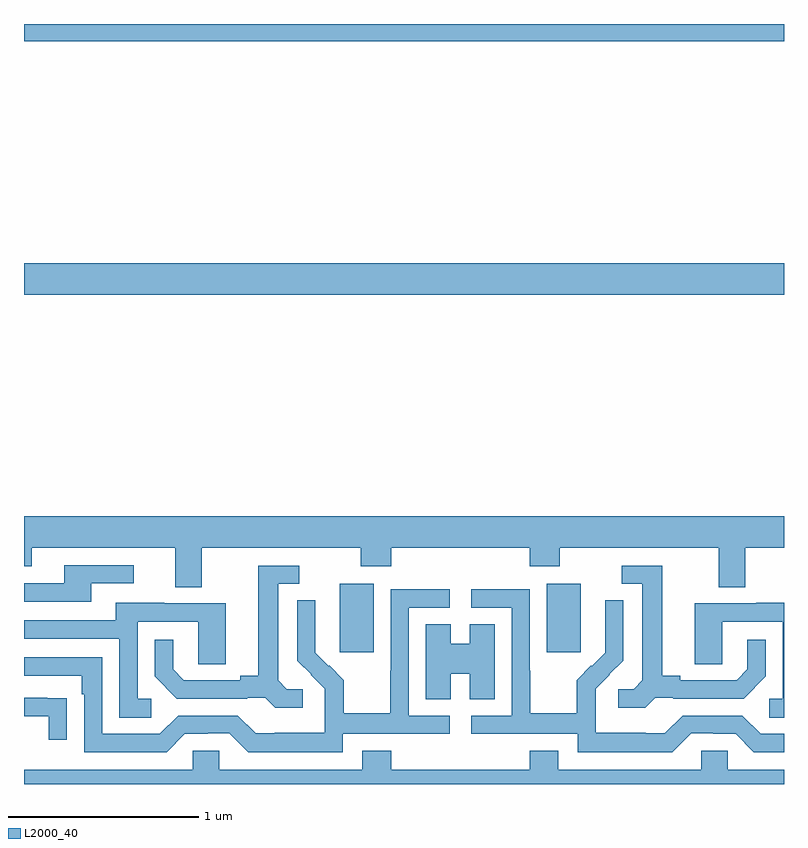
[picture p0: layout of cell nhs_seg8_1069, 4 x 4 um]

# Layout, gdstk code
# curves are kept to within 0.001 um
import gdstk
lib = gdstk.Library(unit=1e-6, precision=1e-09)
def R(c, l, rs):  # rectangles x0, y0, x1, y1
    for r in rs: c.add(gdstk.rectangle(r[:2], r[2:], *l))
def P(c, l, *ps):  # polygons
    for p in ps: c.add(gdstk.Polygon(p, *l))
L2000_40 = (2000, 40)

nhs_seg8_1069 = lib.new_cell('nhs_seg8_1069')
R(nhs_seg8_1069, L2000_40, [(180.662,1138.593,180.841,1138.954), (181.751,1138.593,181.93,1138.954), (179,1140.476,183,1140.64), (179,1141.808,183,1141.9)])
P(nhs_seg8_1069, L2000_40, [(179.935,1139.144),(180.772,1139.144),(180.772,1139.045),(180.932,1139.045),(180.932,1139.144),(181.661,1139.144),(181.661,1139.045),(181.821,1139.045),(181.821,1139.144),(182.657,1139.144),(182.657,1138.936),(182.797,1138.936),(182.797,1139.144),(183,1139.144),(183,1139.308),(179,1139.308),(179,1139.045),(179.041,1139.045),(179.041,1139.144),(179.795,1139.144),(179.795,1138.936),(179.935,1138.936)],
  [(179.353,1138.956),(179.578,1138.956),(179.578,1139.052),(179.213,1139.052),(179.213,1138.956),(179,1138.956),(179,1138.86),(179.353,1138.86)],
  [(182.322,1138.353),(182.416,1138.353),(182.416,1138.35),(182.788,1138.35),(182.904,1138.466),(182.904,1138.66),(182.807,1138.66),(182.807,1138.503),(182.75,1138.446),(182.455,1138.446),(182.455,1138.469),(182.359,1138.469),(182.359,1139.049),(182.145,1139.049),(182.145,1138.953),(182.255,1138.953),(182.255,1138.445),(182.208,1138.398),(182.127,1138.398),(182.127,1138.301),(182.27,1138.301)],
  [(180.466,1138.398),(180.384,1138.398),(180.337,1138.445),(180.337,1138.953),(180.448,1138.953),(180.448,1139.049),(180.233,1139.049),(180.233,1138.469),(180.137,1138.469),(180.137,1138.446),(179.842,1138.446),(179.785,1138.503),(179.785,1138.66),(179.688,1138.66),(179.688,1138.466),(179.804,1138.35),(180.176,1138.35),(180.176,1138.353),(180.27,1138.353),(180.322,1138.301),(180.466,1138.301)],
  [(182.511,1138.167),(182.627,1138.167),(182.627,1138.164),(182.745,1138.164),(182.841,1138.068),(183,1138.068),(183,1138.164),(182.877,1138.164),(182.781,1138.26),(182.466,1138.26),(182.373,1138.167),(182.273,1138.167),(182.273,1138.171),(182.01,1138.171),(182.01,1138.305),(182.008,1138.305),(182.008,1138.402),(182.154,1138.55),(182.154,1138.868),(182.058,1138.868),(182.058,1138.714),(182.06,1138.714),(182.06,1138.592),(181.989,1138.521),(181.986,1138.524),(181.909,1138.447),(181.909,1138.273),(181.665,1138.273),(181.665,1138.496),(181.662,1138.496),(181.662,1138.926),(181.353,1138.926),(181.353,1138.827),(181.566,1138.827),(181.566,1138.26),(181.353,1138.26),(181.353,1138.164),(181.914,1138.164),(181.914,1138.067),(182.411,1138.067)],
  [(180.678,1138.164),(181.24,1138.164),(181.24,1138.26),(181.026,1138.26),(181.026,1138.827),(181.24,1138.827),(181.24,1138.926),(180.93,1138.926),(180.93,1138.496),(180.928,1138.496),(180.928,1138.273),(180.683,1138.273),(180.683,1138.447),(180.606,1138.524),(180.603,1138.521),(180.533,1138.592),(180.534,1138.868),(180.438,1138.868),(180.438,1138.55),(180.584,1138.402),(180.584,1138.305),(180.582,1138.305),(180.582,1138.171),(180.319,1138.171),(180.319,1138.167),(180.219,1138.167),(180.126,1138.26),(179.811,1138.26),(179.715,1138.164),(179.412,1138.164),(179.412,1138.566),(179,1138.566),(179,1138.47),(179.303,1138.47),(179.303,1138.373),(179.316,1138.373),(179.316,1138.068),(179.751,1138.068),(179.847,1138.164),(179.966,1138.164),(179.966,1138.167),(180.081,1138.167),(180.181,1138.067),(180.678,1138.067)],
  [(183,1138.855),(182.855,1138.855),(182.855,1138.851),(182.531,1138.851),(182.531,1138.531),(182.676,1138.531),(182.676,1138.755),(182.994,1138.755),(182.994,1138.35),(182.922,1138.35),(182.922,1138.249),(183,1138.249)],
  [(179.671,1138.35),(179.598,1138.35),(179.598,1138.755),(179.916,1138.755),(179.916,1138.531),(180.061,1138.531),(180.061,1138.851),(179.737,1138.851),(179.737,1138.855),(179.483,1138.855),(179.483,1138.761),(179,1138.761),(179,1138.665),(179.502,1138.665),(179.502,1138.249),(179.671,1138.249)],
  [(181.246,1138.481),(181.346,1138.481),(181.346,1138.345),(181.477,1138.345),(181.477,1138.742),(181.346,1138.742),(181.346,1138.639),(181.246,1138.639),(181.246,1138.742),(181.115,1138.742),(181.115,1138.345),(181.246,1138.345)],
  [(179.225,1138.352),(179.123,1138.352),(179.123,1138.353),(179,1138.353),(179,1138.257),(179.129,1138.257),(179.129,1138.134),(179.225,1138.134)],
  [(183,1137.976),(182.703,1137.976),(182.703,1138.074),(182.565,1138.074),(182.565,1137.976),(181.813,1137.976),(181.813,1138.075),(181.661,1138.075),(181.661,1137.976),(180.932,1137.976),(180.932,1138.075),(180.779,1138.075),(180.779,1137.976),(180.027,1137.976),(180.027,1138.074),(179.889,1138.074),(179.889,1137.976),(179,1137.976),(179,1137.9),(183,1137.9)])

lib.write_gds('nhs_seg8_1069.gds')
